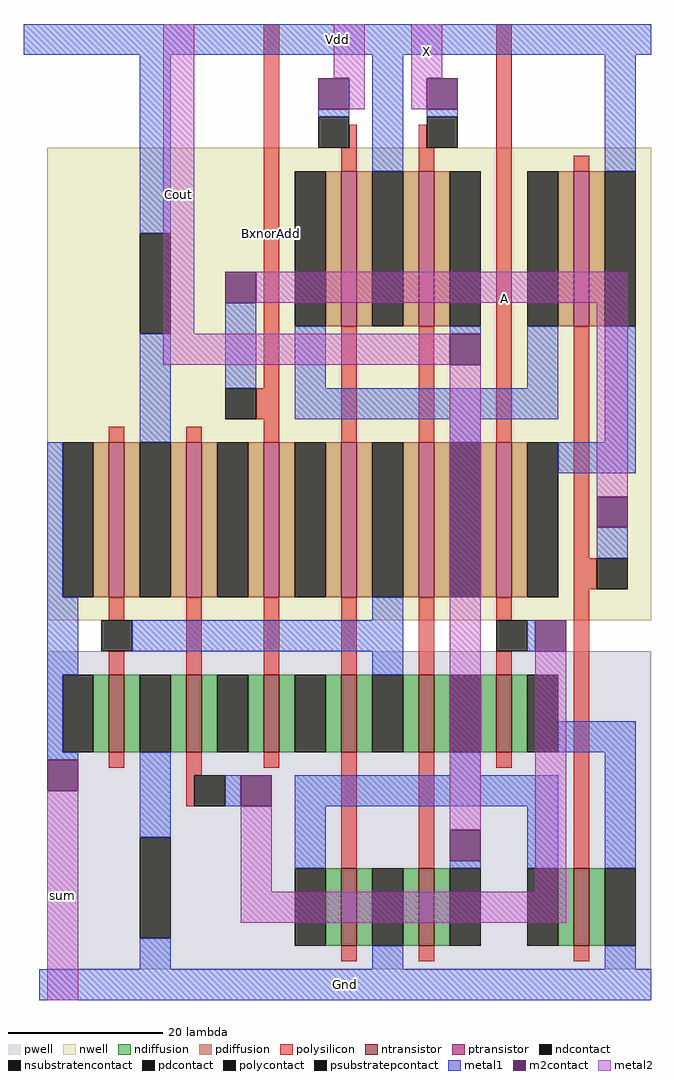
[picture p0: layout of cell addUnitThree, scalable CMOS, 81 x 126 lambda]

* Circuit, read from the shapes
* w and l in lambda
.subckt addUnitThree A BxnorAdd Cin Cout Gnd Vdd X sum
M1 Gnd n1 sum Gnd nfet w=10 l=2
M2 n2 A Gnd Gnd nfet w=10 l=2
M3 n3 BxnorAdd n2 Gnd nfet w=10 l=2
M4 Gnd Cin n4 Gnd nfet w=10 l=2
M5 n1 Cin n3 Gnd nfet w=10 l=2
M6 Cout X Gnd Gnd nfet w=10 l=2
M7 n4 X n1 Gnd nfet w=10 l=2
M8 Gnd A n4 Gnd nfet w=10 l=2
M9 Gnd BxnorAdd n4 Gnd nfet w=10 l=2
M10 Vdd n1 sum Vdd pfet w=20 l=2
M11 n5 A Vdd Vdd pfet w=20 l=2
M12 n6 BxnorAdd n5 Vdd pfet w=20 l=2
M13 n1 Cin n6 Vdd pfet w=20 l=2
M14 Vdd Cin n7 Vdd pfet w=20 l=2
M15 n7 X n1 Vdd pfet w=20 l=2
M16 Cout X Vdd Vdd pfet w=20 l=2
M17 Vdd A n7 Vdd pfet w=20 l=2
M18 Vdd BxnorAdd n7 Vdd pfet w=20 l=2
.ends

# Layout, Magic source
magic
tech scmos
<< pwell >>
rect -54 -70 24 -29
<< nwell >>
rect -54 -25 24 36
<< polysilicon >>
rect -26 5 -24 52
rect -15 36 -14 39
rect -16 33 -14 36
rect -6 36 -5 39
rect -6 33 -4 36
rect -27 1 -24 5
rect -46 -2 -44 0
rect -36 -2 -34 0
rect -26 -2 -24 1
rect -16 -2 -14 13
rect -6 -2 -4 13
rect 4 -2 6 52
rect 14 33 16 35
rect 14 -17 16 13
rect 14 -21 17 -17
rect -46 -25 -44 -22
rect -46 -32 -44 -29
rect -36 -32 -34 -22
rect -26 -32 -24 -22
rect -16 -32 -14 -22
rect -6 -32 -4 -22
rect 4 -25 6 -22
rect 4 -32 6 -29
rect -46 -44 -44 -42
rect -36 -45 -34 -42
rect -26 -44 -24 -42
rect -36 -49 -35 -45
rect -16 -57 -14 -42
rect -6 -57 -4 -42
rect 4 -44 6 -42
rect 14 -57 16 -21
rect -16 -69 -14 -67
rect -6 -69 -4 -67
rect 14 -69 16 -67
<< ndiffusion >>
rect -48 -42 -46 -32
rect -44 -42 -42 -32
rect -38 -42 -36 -32
rect -34 -42 -32 -32
rect -28 -42 -26 -32
rect -24 -42 -22 -32
rect -18 -42 -16 -32
rect -14 -42 -12 -32
rect -8 -42 -6 -32
rect -4 -42 -2 -32
rect 2 -42 4 -32
rect 6 -42 8 -32
rect -18 -67 -16 -57
rect -14 -67 -12 -57
rect -8 -67 -6 -57
rect -4 -67 -2 -57
rect 12 -67 14 -57
rect 16 -67 18 -57
<< pdiffusion >>
rect -18 13 -16 33
rect -14 13 -12 33
rect -8 13 -6 33
rect -4 13 -2 33
rect 12 13 14 33
rect 16 13 18 33
rect -48 -22 -46 -2
rect -44 -22 -42 -2
rect -38 -22 -36 -2
rect -34 -22 -32 -2
rect -28 -22 -26 -2
rect -24 -22 -22 -2
rect -18 -22 -16 -2
rect -14 -22 -12 -2
rect -8 -22 -6 -2
rect -4 -22 -2 -2
rect 2 -22 4 -2
rect 6 -22 8 -2
<< metal1 >>
rect -57 48 24 52
rect -42 25 -38 48
rect -19 40 -15 41
rect -12 33 -8 48
rect -5 40 -1 41
rect 18 33 22 48
rect -42 -2 -38 12
rect -31 5 -27 16
rect -22 5 -18 13
rect -2 12 2 13
rect 8 5 12 13
rect -22 1 12 5
rect -2 -2 2 1
rect 18 -2 22 13
rect -54 -22 -52 -2
rect 12 -6 22 -2
rect 17 -17 21 -13
rect -54 -32 -50 -22
rect -12 -25 -8 -22
rect -43 -29 -8 -25
rect 8 -29 9 -25
rect -12 -32 -8 -29
rect -54 -42 -52 -32
rect 12 -42 22 -38
rect -54 -43 -50 -42
rect -42 -53 -38 -42
rect -2 -45 2 -42
rect -31 -49 -29 -45
rect -22 -49 12 -45
rect -42 -70 -38 -66
rect -22 -57 -18 -49
rect -2 -57 2 -56
rect 8 -57 12 -49
rect 18 -57 22 -42
rect -12 -70 -8 -67
rect 18 -70 22 -67
rect -55 -74 24 -70
<< metal2 >>
rect -39 12 -35 52
rect -17 45 -13 52
rect -15 41 -13 45
rect -7 45 -3 52
rect -7 41 -5 45
rect -27 16 21 20
rect -39 8 -2 12
rect -54 -74 -50 -47
rect -29 -60 -25 -49
rect -2 -52 2 8
rect 17 -9 21 16
rect 9 -60 13 -29
rect -29 -64 13 -60
<< ntransistor >>
rect -46 -42 -44 -32
rect -36 -42 -34 -32
rect -26 -42 -24 -32
rect -16 -42 -14 -32
rect -6 -42 -4 -32
rect 4 -42 6 -32
rect -16 -67 -14 -57
rect -6 -67 -4 -57
rect 14 -67 16 -57
<< ptransistor >>
rect -16 13 -14 33
rect -6 13 -4 33
rect 14 13 16 33
rect -46 -22 -44 -2
rect -36 -22 -34 -2
rect -26 -22 -24 -2
rect -16 -22 -14 -2
rect -6 -22 -4 -2
rect 4 -22 6 -2
<< polycontact >>
rect -19 36 -15 40
rect -5 36 -1 40
rect -31 1 -27 5
rect 17 -21 21 -17
rect -47 -29 -43 -25
rect 4 -29 8 -25
rect -35 -49 -31 -45
<< ndcontact >>
rect -52 -42 -48 -32
rect -42 -42 -38 -32
rect -32 -42 -28 -32
rect -22 -42 -18 -32
rect -12 -42 -8 -32
rect -2 -42 2 -32
rect 8 -42 12 -32
rect -22 -67 -18 -57
rect -12 -67 -8 -57
rect -2 -67 2 -57
rect 8 -67 12 -57
rect 18 -67 22 -57
<< pdcontact >>
rect -22 13 -18 33
rect -12 13 -8 33
rect -2 13 2 33
rect 8 13 12 33
rect 18 13 22 33
rect -52 -22 -48 -2
rect -42 -22 -38 -2
rect -32 -22 -28 -2
rect -22 -22 -18 -2
rect -12 -22 -8 -2
rect -2 -22 2 -2
rect 8 -22 12 -2
<< m2contact >>
rect -19 41 -15 45
rect -5 41 -1 45
rect -31 16 -27 20
rect -2 8 2 12
rect 17 -13 21 -9
rect 9 -29 13 -25
rect -54 -47 -50 -43
rect -29 -49 -25 -45
rect -2 -56 2 -52
<< psubstratepcontact >>
rect -42 -66 -38 -53
<< nsubstratencontact >>
rect -42 12 -38 25
<< labels >>
rlabel polysilicon 4 -2 6 35 1 A
rlabel metal1 -55 -74 24 -70 1 Gnd
rlabel metal2 -54 -74 -50 -47 3 sum
rlabel metal1 -57 48 24 52 5 Vdd
rlabel metal2 -7 45 -3 52 5 X
rlabel metal2 -17 45 -13 52 5 Cin
rlabel metal2 -39 8 -35 52 1 Cout
rlabel polysilicon -26 -2 -24 52 1 BxnorAdd
<< end >>
